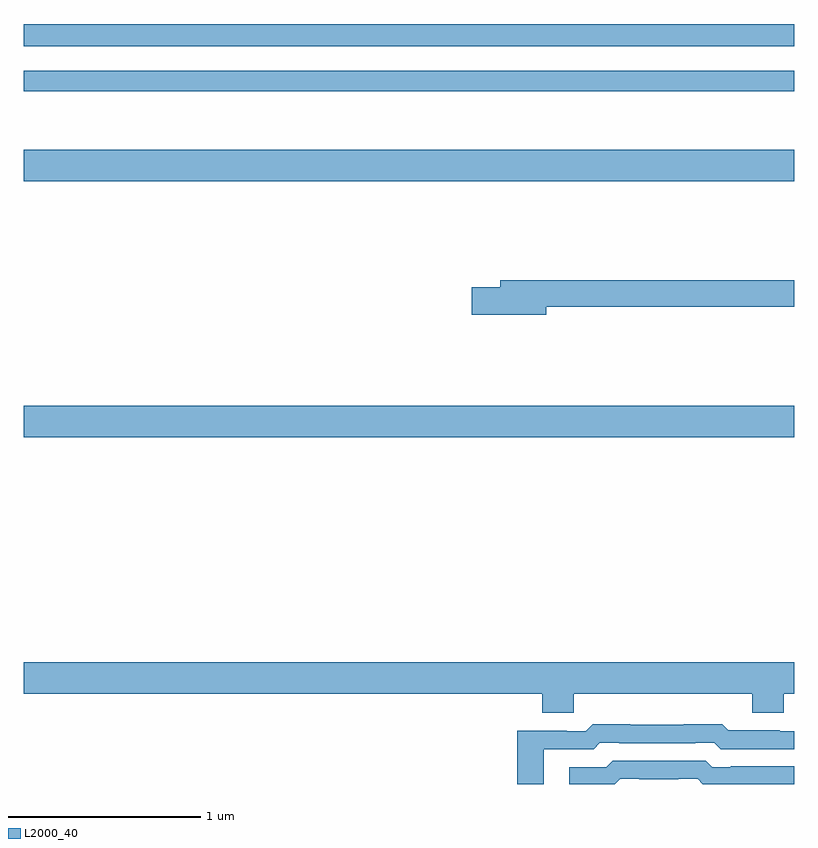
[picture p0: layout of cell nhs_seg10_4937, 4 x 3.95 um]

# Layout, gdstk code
import gdstk
lib = gdstk.Library(unit=1e-6, precision=1e-09)
def R(c, l, rs):  # rectangles x0, y0, x1, y1
    for r in rs: c.add(gdstk.rectangle(r[:2], r[2:], *l))
def P(c, l, *ps):  # polygons
    for p in ps: c.add(gdstk.Polygon(p, *l))
L2000_40 = (2000, 40)

nhs_seg10_4937 = lib.new_cell('nhs_seg10_4937')
R(nhs_seg10_4937, L2000_40, [(395,1316.3,399,1316.464), (395,1317.632,399,1317.796), (395,1318.098,399,1318.206), (395,1318.332,399,1318.448)])
P(nhs_seg10_4937, L2000_40, [(397.714,1316.98),(399,1316.98),(399,1317.116),(397.475,1317.116),(397.475,1317.08),(397.326,1317.08),(397.326,1316.938),(397.714,1316.938)],
  [(397.856,1314.968),(398.783,1314.968),(398.783,1314.869),(398.948,1314.869),(398.948,1314.968),(399,1314.968),(399,1315.132),(395,1315.132),(395,1314.968),(397.691,1314.968),(397.691,1314.869),(397.856,1314.869)],
  [(397.699,1314.681),(397.959,1314.681),(397.992,1314.714),(398.092,1314.714),(398.092,1314.711),(398.486,1314.711),(398.486,1314.714),(398.586,1314.714),(398.619,1314.681),(399,1314.681),(399,1314.774),(398.927,1314.774),(398.927,1314.778),(398.659,1314.778),(398.627,1314.811),(398.428,1314.811),(398.428,1314.808),(398.15,1314.808),(398.15,1314.811),(397.955,1314.811),(397.919,1314.774),(397.82,1314.774),(397.82,1314.777),(397.562,1314.777),(397.562,1314.5),(397.699,1314.5)],
  [(398.097,1314.528),(398.197,1314.528),(398.197,1314.525),(398.399,1314.525),(398.399,1314.528),(398.499,1314.528),(398.527,1314.5),(399,1314.5),(399,1314.592),(398.671,1314.592),(398.671,1314.588),(398.575,1314.588),(398.542,1314.621),(398.058,1314.621),(398.025,1314.588),(397.833,1314.588),(397.833,1314.5),(398.069,1314.5)])

lib.write_gds('nhs_seg10_4937.gds')
